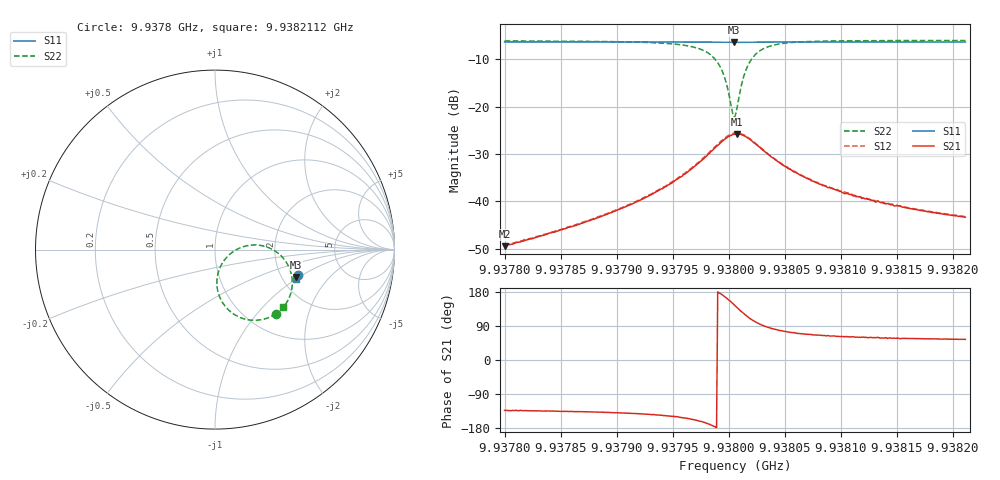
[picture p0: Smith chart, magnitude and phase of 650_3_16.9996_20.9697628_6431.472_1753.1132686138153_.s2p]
#  HZ  S  RI  R  50.00
! Rohde & Schwarz Vector Network Analyzer
! Rohde-Schwarz,ZNB20-2Port,1311601062101988,3.16
! Created: UTC 3/20/2024, 11:21:13 PM
! freq[Hz]  re:S11  im:S11  re:S21  im:S21  re:S12  im:S12  re:S22  im:S22
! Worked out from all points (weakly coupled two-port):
!   401 points, 9.9378 GHz to 9.9382112 GHz, reference 50 ohm
!   highest |S21| = -25.77 dB at 9.9380077 GHz (marker M1); lowest = -49.4 dB at 9.9378 GHz (marker M2)
!   lowest |S11| = -6.5 dB at 9.9380046 GHz (marker M3), VSWR 2.81, Z = 119 - j46.5 ohm
!   |S11| at or under -10 dB: nowhere
!   |S22| runs from -22.2 to -6.0 dB; largest |S21 - S12| = 0.0022
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9.93780005e9  0.4603 -0.1412  -0.00229 -0.00247  -0.00235 -0.00252  0.3409 -0.3563
9.93786891e9  0.4584 -0.1459  -0.00427 -0.00404  -0.00441 -0.00407  0.3195 -0.3694
9.93791208e9  0.457 -0.149  -0.00709 -0.00582  -0.00735 -0.00583  0.2917 -0.3818
9.93793777e9  0.4558 -0.1508  -0.0107 -0.00754  -0.0111 -0.00742  0.2594 -0.3905
9.93796861e9  0.4539 -0.1534  -0.0212 -0.00878  -0.0218 -0.00869  0.1715 -0.3885
9.93798505e9  0.4519 -0.1541  -0.0339 -0.00445  -0.035 -0.00385  0.0734 -0.3339
9.93799122e9  0.4508 -0.1541  -0.0398 0.00174  -0.0413 0.00251  0.0318 -0.2762
9.93799533e9  0.4501 -0.1537  -0.0434 0.00786  -0.0445 0.0092  0.0132 -0.219
9.93799841e9  0.4498 -0.1532  -0.0448 0.0142  -0.0458 0.0157  0.0111 -0.1667
9.93800252e9  0.4497 -0.1523  -0.0443 0.0234  -0.0446 0.0254  0.0319 -0.0914
9.93800458e9  0.4495 -0.1518  -0.0425 0.0282  -0.0427 0.0303  0.0542 -0.0557
9.93800561e9  0.4496 -0.1516  -0.0413 0.0304  -0.0412 0.0326  0.0681 -0.0397
9.93800766e9  0.4498 -0.1511  -0.038 0.0347  -0.0378 0.0366  0.1003 -0.012
9.93801177e9  0.4506 -0.1506  -0.03 0.0404  -0.0292 0.0423  0.1757 0.0211
9.93801486e9  0.4514 -0.1504  -0.0234 0.0424  -0.0224 0.0439  0.2324 0.0258
9.93801897e9  0.452 -0.1506  -0.0149 0.0426  -0.0139 0.0435  0.2982 0.011
9.93802514e9  0.4531 -0.151  -0.00567 0.0389  -0.00474 0.0396  0.3654 -0.0319
9.93804158e9  0.4542 -0.1532  0.00432 0.0271  0.00522 0.0274  0.4265 -0.142
9.93807447e9  0.4538 -0.1567  0.00653 0.0151  0.00696 0.0151  0.423 -0.2414
9.93810325e9  0.4531 -0.1591  0.00579 0.0106  0.00623 0.011  0.4098 -0.2759
9.93814333e9  0.4519 -0.162  0.00499 0.00792  0.0051 0.00795  0.3963 -0.2999
9.93821117e9  0.4501 -0.1665  0.00395 0.00555  0.00413 0.00553  0.3816 -0.3203
